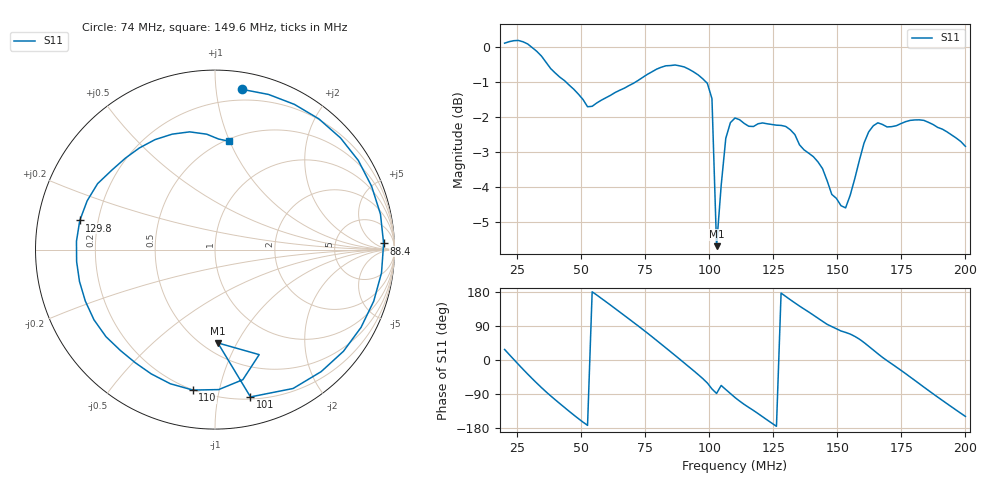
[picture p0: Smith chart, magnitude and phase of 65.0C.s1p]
# HZ S RI R 50
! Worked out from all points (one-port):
!   101 points, 20 MHz to 200 MHz, reference 50 ohm
!   lowest |S11| = -5.7 dB at 102.8 MHz (marker M1), VSWR 3.17, Z = 29.4 - j42 ohm
!   |S11| at or under -10 dB: nowhere
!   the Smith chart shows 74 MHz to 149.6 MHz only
!   S11 on the Smith chart (normalised r, x): 74 MHz: 0.12, +1.18; 88.4 MHz: 24, +14; 101 MHz: 0.22, -1.25; 110 MHz: 0.20, -0.83; 129.8 MHz: 0.13, +0.10; 149.6 MHz: 0.52, +1.00
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2e7  0.8962 0.4718
2.54e7  1.001 -0.2078
3.26e7  0.4747 -0.8641
3.8e7  -0.0764 -0.9287
4.34e7  -0.5169 -0.7316
4.88e7  -0.774 -0.368
5.42e7  -0.8233 0.000713
6.5e7  -0.5165 0.6975
7.4e7  0.1511 0.8928
8.12e7  0.6989 0.6225
8.84e7  0.9395 0.0343
9.56e7  0.7159 -0.5662
1.01e8  0.1977 -0.8208
1.028e8  0.0157 -0.5199
1.046e8  0.2461 -0.5852
1.1e8  -0.1236 -0.7826
1.208e8  -0.6743 -0.3911
1.298e8  -0.7534 0.1623
1.334e8  -0.6541 0.3674
1.424e8  -0.2385 0.6432
1.496e8  0.0798 0.6033
1.55e8  0.2259 0.5719
1.604e8  0.5058 0.5258
1.658e8  0.7473 0.2229
1.73e8  0.7326 -0.2447
1.784e8  0.5589 -0.5527
1.892e8  -0.1073 -0.7606
2e8  -0.6176 -0.3738
